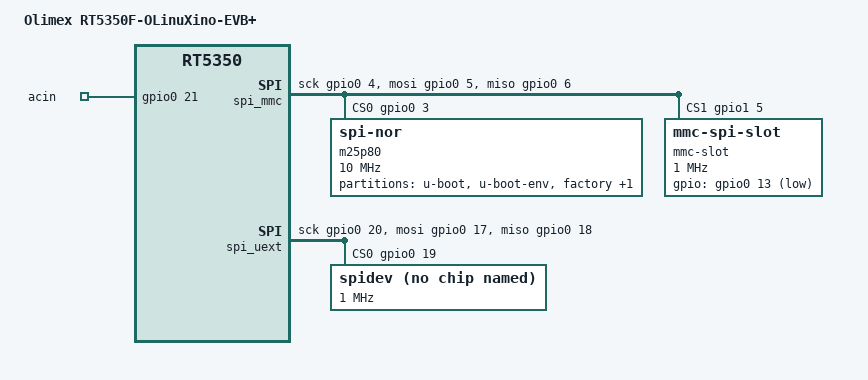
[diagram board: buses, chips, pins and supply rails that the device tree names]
/dts-v1/;

#include "rt5350_olimex_rt5350f-olinuxino-evb.dts"

#include <dt-bindings/gpio/gpio.h>

/ {
	compatible = "olimex,rt5350f-olinuxino-evb-plus", "ralink,rt5350-soc";
	model = "Olimex RT5350F-OLinuXino-EVB+";

	aliases {
		spi0 = &spi_mmc;
		spi1 = &spi_uext;
	};

	gpio_export {
		compatible = "gpio-export";
		#size-cells = <0>;

		acin {
			gpio-export,name = "acin";
			gpios = <&gpio0 21 GPIO_ACTIVE_HIGH>;
		};
	};

	spi_mmc: spi-mmc {
		compatible = "spi-gpio";
		#address-cells = <1>;
		ranges;

		gpio-sck = <&gpio0 4 GPIO_ACTIVE_HIGH>;
		gpio-miso = <&gpio0 6 GPIO_ACTIVE_HIGH>;
		gpio-mosi = <&gpio0 5 GPIO_ACTIVE_HIGH>;
		cs-gpios = <&gpio0 3 GPIO_ACTIVE_HIGH>, <&gpio1 5 GPIO_ACTIVE_HIGH>;
		num-chipselects = <2>;

		m25p80@0 {
			compatible = "jedec,spi-nor";
			reg = <0>;
			spi-max-frequency = <10000000>;

			partitions {
				compatible = "fixed-partitions";
				#address-cells = <1>;
				#size-cells = <1>;

				partition@0 {
					label = "u-boot";
					reg = <0x0 0x30000>;
					read-only;
				};

				partition@30000 {
					label = "u-boot-env";
					reg = <0x30000 0x10000>;
					read-only;
				};

				factory: partition@40000 {
					label = "factory";
					reg = <0x40000 0x10000>;
					read-only;
				};

				partition@50000 {
					compatible = "denx,uimage";
					label = "firmware";
					reg = <0x50000 0x7b0000>;
				};
			};
		};

		mmc-slot@0 {
			compatible = "mmc-spi-slot";
			reg = <1>;

			voltage-ranges = <3200 3400>;
			spi-max-frequency = <1000000>;

			gpios = <&gpio0 13 GPIO_ACTIVE_LOW>;
		};
	};

	spi_uext: spi-uext {
		compatible = "spi-gpio";
		#address-cells = <1>;
		ranges;

		gpio-sck = <&gpio0 20 GPIO_ACTIVE_HIGH>;
		gpio-miso = <&gpio0 18 GPIO_ACTIVE_HIGH>;
		gpio-mosi = <&gpio0 17 GPIO_ACTIVE_HIGH>;
		cs-gpios = <&gpio0 19 GPIO_ACTIVE_HIGH>;
		num-chipselects = <1>;

		spidev@1 {
			compatible = "spidev";
			status = "okay";
			reg = <0>;
			spi-max-frequency = <1000000>;
		};
	};
};

&spi0 {
	status = "disabled";
	/delete-node/ m25p80@0;
};

&state_default {
	spi_pins {
		ralink,group = "spi";
		ralink,function = "gpio";
	};

	spi_cs1 {
		ralink,group = "spi_cs1";
		ralink,function = "gpio";
	};
};
